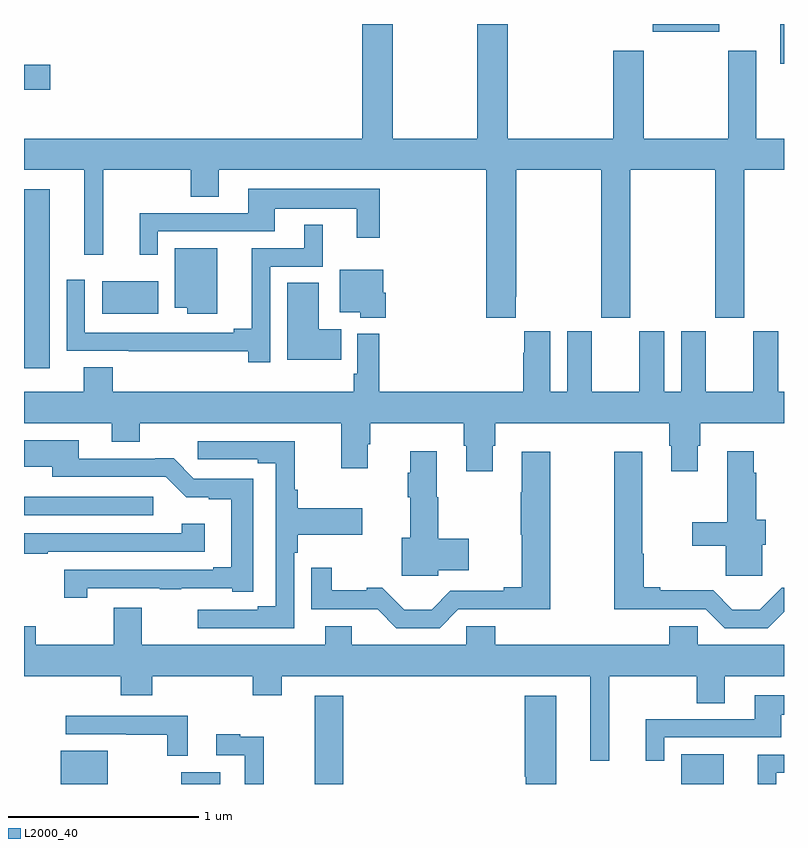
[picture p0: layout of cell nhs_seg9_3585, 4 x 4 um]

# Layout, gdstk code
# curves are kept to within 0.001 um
import gdstk
lib = gdstk.Library(unit=1e-6, precision=1e-09)
def R(c, l, rs):  # rectangles x0, y0, x1, y1
    for r in rs: c.add(gdstk.rectangle(r[:2], r[2:], *l))
def P(c, l, *ps):  # polygons
    for p in ps: c.add(gdstk.Polygon(p, *l))
L2000_40 = (2000, 40)

nhs_seg9_3585 = lib.new_cell('nhs_seg9_3585')
R(nhs_seg9_3585, L2000_40, [(315.194,1214.5,315.442,1214.674), (315.827,1214.5,316.033,1214.563), (316.529,1214.5,316.679,1214.965), (318.458,1214.5,318.682,1214.656), (315,1215.915,315.679,1216.011), (315,1216.689,315.136,1217.629), (315.413,1216.976,315.706,1217.146), (315,1218.155,315.139,1218.285), (318.979,1218.29,319,1218.5), (318.308,1218.458,318.658,1218.5)])
P(nhs_seg9_3585, L2000_40, [(318.192,1217.732),(318.637,1217.732),(318.637,1216.953),(318.792,1216.953),(318.792,1217.732),(319,1217.732),(319,1217.896),(318.853,1217.896),(318.853,1218.358),(318.706,1218.358),(318.706,1217.896),(318.261,1217.896),(318.261,1218.358),(318.101,1218.358),(318.101,1217.896),(317.546,1217.896),(317.546,1218.5),(317.386,1218.5),(317.386,1217.896),(316.941,1217.896),(316.941,1218.5),(316.781,1218.5),(316.781,1217.896),(315,1217.896),(315,1217.732),(315.317,1217.732),(315.317,1217.286),(315.416,1217.286),(315.416,1217.732),(315.877,1217.732),(315.877,1217.59),(316.024,1217.59),(316.024,1217.732),(317.432,1217.732),(317.432,1216.953),(317.587,1216.953),(317.587,1217.065),(317.592,1217.065),(317.592,1217.732),(318.037,1217.732),(318.037,1216.953),(318.192,1216.953)],
  [(315.705,1217.409),(316.321,1217.409),(316.321,1217.528),(316.751,1217.528),(316.751,1217.376),(316.873,1217.376),(316.873,1217.632),(316.181,1217.632),(316.181,1217.505),(315.608,1217.505),(315.608,1217.286),(315.705,1217.286)],
  [(316.296,1217.223),(316.573,1217.223),(316.573,1217.443),(316.475,1217.443),(316.475,1217.319),(316.199,1217.319),(316.199,1216.895),(316.103,1216.895),(316.103,1216.875),(315.321,1216.875),(315.321,1217.155),(315.225,1217.155),(315.225,1216.779),(315.55,1216.779),(315.55,1216.778),(316.18,1216.778),(316.18,1216.719),(316.296,1216.719)],
  [(316.018,1217.32),(315.794,1217.32),(315.794,1217.006),(315.86,1217.006),(315.86,1216.976),(316.018,1216.976)],
  [(316.904,1217.086),(316.891,1217.086),(316.891,1217.206),(316.661,1217.206),(316.661,1216.982),(316.77,1216.982),(316.77,1216.955),(316.904,1216.955)],
  [(316.67,1216.894),(316.552,1216.894),(316.552,1217.138),(316.385,1217.138),(316.385,1216.733),(316.67,1216.733)],
  [(317.467,1216.281),(317.48,1216.281),(317.48,1216.4),(318.395,1216.4),(318.395,1216.281),(318.407,1216.281),(318.407,1216.146),(318.547,1216.146),(318.547,1216.281),(318.56,1216.281),(318.56,1216.4),(319,1216.4),(319,1216.564),(318.97,1216.564),(318.97,1216.882),(318.839,1216.882),(318.839,1216.564),(318.589,1216.564),(318.589,1216.882),(318.458,1216.882),(318.458,1216.564),(318.37,1216.564),(318.37,1216.882),(318.239,1216.882),(318.239,1216.564),(317.989,1216.564),(317.989,1216.882),(317.858,1216.882),(317.858,1216.564),(317.77,1216.564),(317.77,1216.882),(317.633,1216.882),(317.633,1216.769),(317.627,1216.769),(317.627,1216.564),(316.871,1216.564),(316.871,1216.87),(316.755,1216.87),(316.755,1216.66),(316.735,1216.66),(316.735,1216.564),(315.467,1216.564),(315.467,1216.694),(315.314,1216.694),(315.314,1216.564),(315,1216.564),(315,1216.4),(315.461,1216.4),(315.461,1216.301),(315.609,1216.301),(315.609,1216.4),(316.67,1216.4),(316.67,1216.161),(316.81,1216.161),(316.81,1216.289),(316.823,1216.289),(316.823,1216.4),(317.315,1216.4),(317.315,1216.281),(317.327,1216.281),(317.327,1216.146),(317.467,1216.146)],
  [(315.333,1215.531),(315.715,1215.531),(315.715,1215.526),(315.827,1215.526),(315.827,1215.531),(316.095,1215.531),(316.095,1215.513),(316.207,1215.513),(316.207,1216.107),(315.894,1216.107),(315.788,1216.214),(315.692,1216.214),(315.692,1216.212),(315.289,1216.212),(315.289,1216.309),(315,1216.309),(315,1216.169),(315.149,1216.169),(315.149,1216.116),(315.747,1216.116),(315.853,1216.01),(315.972,1216.01),(315.972,1215.999),(316.091,1215.999),(316.091,1215.64),(315.995,1215.64),(315.995,1215.627),(315.213,1215.627),(315.213,1215.48),(315.333,1215.48)],
  [(316.422,1215.716),(316.442,1215.716),(316.442,1215.812),(316.78,1215.812),(316.78,1215.952),(316.442,1215.952),(316.442,1216.048),(316.425,1216.048),(316.425,1216.305),(315.915,1216.305),(315.915,1216.209),(316.229,1216.209),(316.229,1216.189),(316.326,1216.189),(316.326,1215.435),(316.229,1215.435),(316.229,1215.417),(315.915,1215.417),(315.915,1215.321),(316.422,1215.321)],
  [(317.181,1215.626),(317.341,1215.626),(317.341,1215.792),(317.181,1215.792),(317.181,1216.01),(317.173,1216.01),(317.173,1216.252),(317.033,1216.252),(317.033,1216.139),(317.021,1216.139),(317.021,1216.01),(317.033,1216.01),(317.033,1215.797),(316.988,1215.797),(316.988,1215.596),(317.181,1215.596)],
  [(318.886,1215.759),(318.904,1215.759),(318.904,1215.89),(318.854,1215.89),(318.854,1216.139),(318.841,1216.139),(318.841,1216.252),(318.701,1216.252),(318.701,1215.877),(318.516,1215.877),(318.516,1215.755),(318.694,1215.755),(318.694,1215.596),(318.886,1215.596)],
  [(317.286,1215.42),(317.769,1215.419),(317.769,1216.249),(317.621,1216.249),(317.621,1216.036),(317.614,1216.036),(317.614,1215.813),(317.621,1215.813),(317.621,1215.536),(317.525,1215.536),(317.525,1215.516),(317.244,1215.516),(317.146,1215.418),(317.001,1215.418),(316.886,1215.533),(316.805,1215.533),(316.805,1215.521),(316.621,1215.521),(316.621,1215.637),(316.512,1215.637),(316.512,1215.419),(316.862,1215.419),(316.959,1215.321),(317.187,1215.321)],
  [(319,1215.406),(319,1215.533),(318.988,1215.533),(318.873,1215.418),(318.728,1215.418),(318.628,1215.519),(318.349,1215.519),(318.349,1215.536),(318.261,1215.536),(318.261,1215.713),(318.253,1215.713),(318.253,1216.249),(318.106,1216.249),(318.106,1215.419),(318.588,1215.42),(318.687,1215.321),(318.915,1215.321)],
  [(315.125,1215.723),(315.952,1215.723),(315.952,1215.871),(315.831,1215.871),(315.831,1215.819),(315,1215.819),(315,1215.711),(315.125,1215.711)],
  [(318.08,1215.068),(318.541,1215.068),(318.541,1214.926),(318.688,1214.926),(318.688,1215.068),(319,1215.068),(319,1215.232),(318.546,1215.232),(318.546,1215.33),(318.395,1215.33),(318.395,1215.232),(317.48,1215.232),(317.48,1215.33),(317.328,1215.33),(317.328,1215.232),(316.726,1215.232),(316.726,1215.331),(316.586,1215.331),(316.586,1215.232),(315.619,1215.232),(315.619,1215.427),(315.472,1215.427),(315.472,1215.232),(315.063,1215.232),(315.063,1215.33),(315,1215.33),(315,1215.068),(315.509,1215.068),(315.509,1214.966),(315.674,1214.966),(315.674,1215.068),(316.205,1215.068),(316.205,1214.966),(316.357,1214.966),(316.357,1215.068),(317.981,1215.068),(317.981,1214.622),(318.08,1214.622)],
  [(318.369,1214.745),(318.985,1214.745),(318.985,1214.864),(319,1214.864),(319,1214.968),(318.845,1214.968),(318.845,1214.841),(318.272,1214.841),(318.272,1214.622),(318.369,1214.622)],
  [(317.8,1214.965),(317.636,1214.965),(317.636,1214.538),(317.642,1214.538),(317.642,1214.5),(317.8,1214.5)],
  [(315.862,1214.859),(315.219,1214.859),(315.219,1214.763),(315.538,1214.763),(315.538,1214.758),(315.753,1214.758),(315.753,1214.648),(315.862,1214.648)],
  [(316.262,1214.75),(316.139,1214.75),(316.139,1214.761),(316.011,1214.761),(316.011,1214.652),(316.161,1214.652),(316.161,1214.5),(316.262,1214.5)],
  [(318.96,1214.559),(319,1214.559),(319,1214.655),(318.863,1214.655),(318.863,1214.5),(318.96,1214.5)])

lib.write_gds('nhs_seg9_3585.gds')
